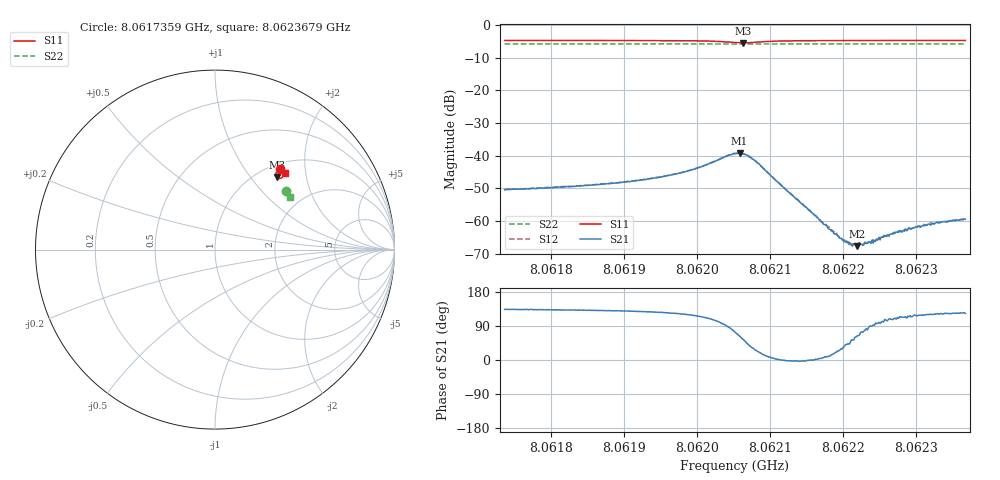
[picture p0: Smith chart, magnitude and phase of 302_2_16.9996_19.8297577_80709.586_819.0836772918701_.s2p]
#  HZ  S  RI  R  50.00
! Rohde & Schwarz Vector Network Analyzer
! Rohde-Schwarz,ZNB20-2Port,1311601062101988,3.16
! Created: UTC 3/20/2024, 11:05:39 PM
! freq[Hz]  re:S11  im:S11  re:S21  im:S21  re:S12  im:S12  re:S22  im:S22
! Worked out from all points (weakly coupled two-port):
!   401 points, 8.0617359 GHz to 8.0623679 GHz, reference 50 ohm
!   highest |S21| = -39.19 dB at 8.0620582 GHz (marker M1); lowest = -67.6 dB at 8.0622194 GHz (marker M2)
!   lowest |S11| = -5.5 dB at 8.062063 GHz (marker M3), VSWR 3.25, Z = 61 + j68.1 ohm
!   |S11| at or under -10 dB: nowhere
!   |S22| runs from -5.9 to -5.8 dB; largest |S21 - S12| = 0.00082
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8.06173589e9  0.3604 0.4493  -0.00207 0.00218  -0.00201 0.00236  0.3931 0.3267
8.06184176e9  0.3678 0.4429  -0.00229 0.00262  -0.00217 0.00274  0.3971 0.3215
8.06188758e9  0.3713 0.4395  -0.00246 0.00293  -0.0023 0.0031  0.3989 0.3192
8.06194762e9  0.3762 0.4331  -0.00273 0.00377  -0.00251 0.00401  0.401 0.3161
8.06199187e9  0.3804 0.4245  -0.00291 0.00531  -0.00256 0.00555  0.4026 0.3135
8.06205191e9  0.36 0.3964  0.00308 0.0103  0.00375 0.0102  0.4034 0.3097
8.06205823e9  0.3514 0.398  0.00499 0.00978  0.00566 0.00942  0.4033 0.3096
8.06206297e9  0.3452 0.4017  0.00622 0.00865  0.00676 0.00833  0.4033 0.3095
8.06207087e9  0.3391 0.4111  0.00742 0.0062  0.00795 0.00586  0.4033 0.3098
8.06207877e9  0.3383 0.4213  0.00748 0.00389  0.0078 0.00346  0.4037 0.3099
8.06215777e9  0.3678 0.4383  0.00134 2.37e-07  0.0013 -0.000117  0.408 0.3065
8.06218621e9  0.3724 0.4365  0.00067 0.00018  0.0007 0.000144  0.4093 0.3051
8.06220202e9  0.3747 0.4357  0.000417 0.000308  0.000408 0.000235  0.4099 0.3043
8.0622115e9  0.3758 0.4351  0.000265 0.00035  0.000297 0.000307  0.4102 0.3037
8.0622194e9  0.3764 0.4345  0.000187 0.000371  0.000208 0.000371  0.4105 0.3034
8.06224152e9  0.3786 0.4332  -2.04e-05 0.000464  2.72e-05 0.000521  0.4112 0.3022
8.06225574e9  0.38 0.4321  -0.000108 0.000588  -0.000108 0.000561  0.4117 0.3013
8.06226364e9  0.3807 0.4316  -0.0002 0.000577  -0.000125 0.000567  0.4122 0.3011
8.0622747e9  0.3815 0.4311  -0.000259 0.000636  -0.000226 0.000641  0.4124 0.3004
8.06230946e9  0.3843 0.4289  -0.000394 0.000755  -0.000371 0.0008  0.4138 0.2986
8.06232684e9  0.3855 0.428  -0.00048 0.000801  -0.000425 0.000805  0.4144 0.2978
8.06236792e9  0.3882 0.4257  -0.000583 0.000897  -0.00055 0.000948  0.4158 0.2956
